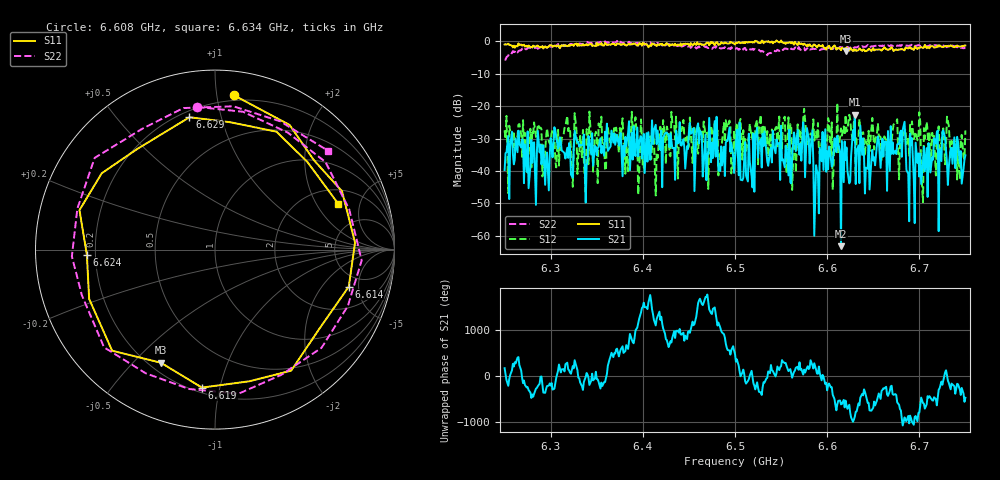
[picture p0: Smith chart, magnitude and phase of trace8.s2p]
# Hz S RI R 50
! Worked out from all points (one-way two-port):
!   401 points, 6.25 GHz to 6.75 GHz, reference 50 ohm
!   highest |S21| = -22.60 dB at 6.63 GHz (marker M1); lowest = -63.2 dB at 6.615 GHz (marker M2)
!   lowest |S11| = -3.1 dB at 6.62 GHz (marker M3), VSWR 5.64, Z = 12.2 - j30.1 ohm
!   |S11| at or under -10 dB: nowhere
!   |S22| runs from -5.7 to 0.1 dB; largest |S21 - S12| = 0.14
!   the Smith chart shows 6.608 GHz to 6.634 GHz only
!   S11 on the Smith chart (normalised r, x): 6.608 GHz: 0.16, +1.12; 6.614 GHz: 3.74, -3.84; 6.619 GHz: 0.23, -0.88; 6.624 GHz: 0.17, -0.02; 6.629 GHz: 0.24, +0.80; 6.634 GHz: 2.84, +3.13
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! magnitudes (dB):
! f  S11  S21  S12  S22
! 6.25 GHz  -1.0  -39.8  -27.5  -5.7
! 6.334 GHz  -1.3  -32.1  -36.0  -0.9
! 6.418 GHz  -1.1  -32.3  -28.7  -0.9
! 6.5 GHz  -1.0  -36.4  -35.7  -2.4
! 6.56 GHz  -0.3  -43.5  -25.5  -2.7
! 6.576 GHz  -1.0  -41.9  -24.0  -2.8
! 6.584 GHz  -1.7  -27.5  -29.2  -2.4
! 6.589 GHz  -1.9  -40.1  -30.2  -2.2
! 6.595 GHz  -1.2  -28.0  -31.5  -2.4
! 6.608 GHz  -1.3  -29.9  -30.6  -1.9
! 6.614 GHz  -2.2  -34.3  -29.5  -1.7
! 6.615 GHz  -2.7  -63.2  -26.9  -1.9
! 6.619 GHz  -2.2  -30.9  -29.0  -1.8
! 6.62 GHz  -3.1  -36.6  -22.7  -2.0
! 6.624 GHz  -2.9  -43.8  -22.7  -2.1
! 6.629 GHz  -2.5  -30.4  -24.9  -2.1
! 6.63 GHz  -2.9  -22.6  -28.9  -1.9
! 6.634 GHz  -2.7  -32.1  -30.0  -1.6
! 6.668 GHz  -2.5  -40.0  -31.3  -1.5
! 6.674 GHz  -2.6  -33.8  -25.1  -1.4
! 6.68 GHz  -2.4  -27.6  -31.8  -1.4
! 6.75 GHz  -1.3  -35.2  -27.5  -2.2
